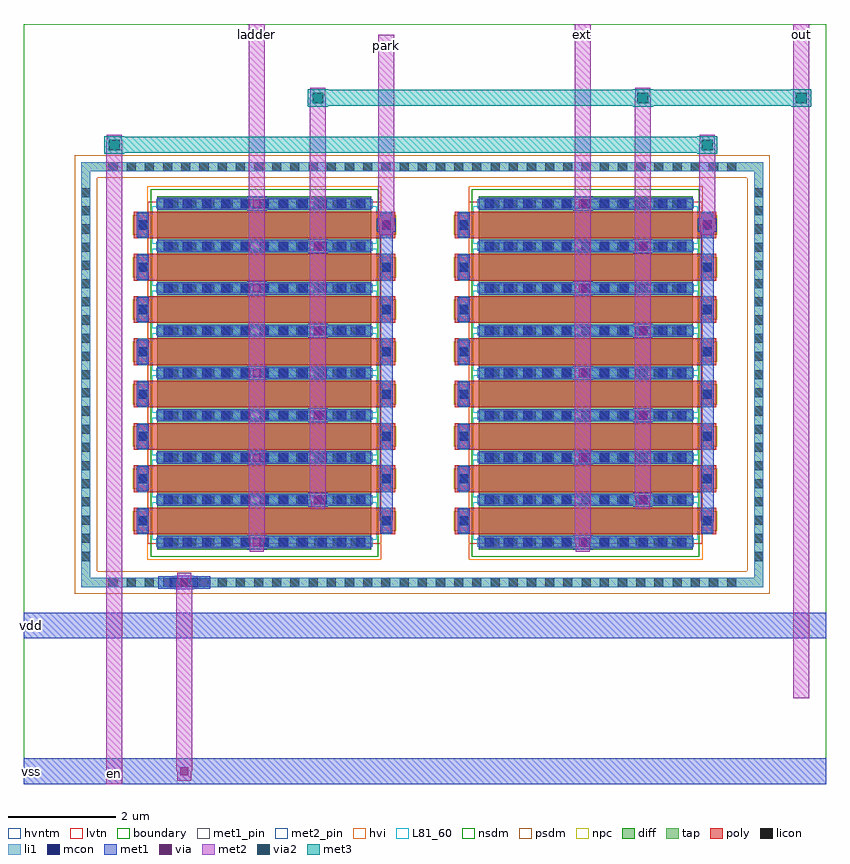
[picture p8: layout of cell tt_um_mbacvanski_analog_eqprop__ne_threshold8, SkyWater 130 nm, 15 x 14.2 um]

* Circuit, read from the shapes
.subckt tt_um_mbacvanski_analog_eqprop__ne_threshold8 en ext ladder out park vdd vss
XM1 out park ladder vss sky130_fd_pr__nfet_05v0_nvt w=4 l=0.5 m=8
XM2 out en ext vss sky130_fd_pr__nfet_05v0_nvt w=4 l=0.5 m=8
.ends

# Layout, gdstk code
from math import pi, radians
import gdstk
lib = gdstk.Library(unit=1e-6, precision=1e-09)
def R(c, l, rs):  # rectangles x0, y0, x1, y1
    for r in rs: c.add(gdstk.rectangle(r[:2], r[2:], *l))
def A(c, l, x, y, w, h, nx, ny, dx, dy):  # array of equal rectangles
    R(c, l, [(x+i*dx, y+j*dy, x+i*dx+w, y+j*dy+h) for i in range(nx) for j in range(ny)])
diff = (65, 20)
tap = (65, 44)
poly = (66, 20)
licon = (66, 44)
li1 = (67, 20)
mcon = (67, 44)
met1_pin = (68, 16)
met1 = (68, 20)
via = (68, 44)
met2_pin = (69, 16)
met2 = (69, 20)
via2 = (69, 44)
met3 = (70, 20)
hvi = (75, 20)
L81_60 = (81, 60)
nsdm = (93, 44)
psdm = (94, 20)
npc = (95, 20)
hvntm = (125, 20)
lvtn = (125, 44)
boundary = (235, 4)

tt_um_mbacvanski_analog_ = lib.new_cell('tt_um_mbacvanski_analog_eqprop__ne_native8')
R(tt_um_mbacvanski_analog_, diff, [(-3.305,-2,3.305,2)])
A(tt_um_mbacvanski_analog_, poly, -3.015, -2.44, 0.5, 4.88, 8, 1, 0.79, 0)
A(tt_um_mbacvanski_analog_, licon, -2.85, -2.36, 0.17, 0.17, 8, 2, 0.79, 4.55)
A(tt_um_mbacvanski_analog_, licon, -3.245, -1.785, 0.17, 0.17, 9, 11, 0.79, 0.34)
A(tt_um_mbacvanski_analog_, li1, -3.015, -2.36, 0.5, 0.17, 8, 2, 0.79, 4.55)
A(tt_um_mbacvanski_analog_, li1, -3.245, -2.02, 0.17, 4.04, 9, 1, 0.79, 0)
A(tt_um_mbacvanski_analog_, mcon, -2.85, -2.36, 0.17, 0.17, 8, 2, 0.79, 4.55)
A(tt_um_mbacvanski_analog_, mcon, -3.245, -1.885, 0.17, 0.17, 9, 11, 0.79, 0.36)
A(tt_um_mbacvanski_analog_, met1, -2.995, -2.39, 0.46, 0.23, 8, 2, 0.79, 4.55)
A(tt_um_mbacvanski_analog_, met1, -3.275, -2, 0.23, 4, 9, 1, 0.79, 0)
R(tt_um_mbacvanski_analog_, hvi, [(-3.49,-2.185,3.49,2.185)])
A(tt_um_mbacvanski_analog_, L81_60, -3.115, -2.1, 0.7, 4.2, 8, 1, 0.79, 0)
R(tt_um_mbacvanski_analog_, nsdm, [(-3.43,-2.125,3.43,2.125)])
A(tt_um_mbacvanski_analog_, npc, -2.95, -2.46, 0.37, 0.37, 8, 2, 0.79, 4.55)
R(tt_um_mbacvanski_analog_, hvntm, [(-3.49,-2.185,3.49,2.185)])
R(tt_um_mbacvanski_analog_, lvtn, [(-3.195,-2.18,3.195,2.18)])
tt_um_mbacvanski_analog_.add(gdstk.Label('S7', (2.37,0), layer=67, texttype=5))
tt_um_mbacvanski_analog_.add(gdstk.Label('G6', (1.975,2.275), layer=67, texttype=5))
tt_um_mbacvanski_analog_.add(gdstk.Label('D0', (-3.16,0), layer=67, texttype=5))
tt_um_mbacvanski_analog_.add(gdstk.Label('G3', (-0.395,2.275), layer=67, texttype=5))
tt_um_mbacvanski_analog_.add(gdstk.Label('G1', (-1.975,2.275), layer=67, texttype=5))
tt_um_mbacvanski_analog_.add(gdstk.Label('D2', (-1.58,0), layer=67, texttype=5))
tt_um_mbacvanski_analog_.add(gdstk.Label('G7', (2.765,2.275), layer=67, texttype=5))
tt_um_mbacvanski_analog_.add(gdstk.Label('G2', (-1.185,2.275), layer=67, texttype=5))
tt_um_mbacvanski_analog_.add(gdstk.Label('S3', (-0.79,0), layer=67, texttype=5))
tt_um_mbacvanski_analog_.add(gdstk.Label('S1', (-2.37,0), layer=67, texttype=5))
tt_um_mbacvanski_analog_.add(gdstk.Label('S5', (0.79,0), layer=67, texttype=5))
tt_um_mbacvanski_analog_.add(gdstk.Label('D4', (0,0), layer=67, texttype=5))
tt_um_mbacvanski_analog_.add(gdstk.Label('G0', (-2.765,2.275), layer=67, texttype=5))
tt_um_mbacvanski_analog_.add(gdstk.Label('G4', (0.395,2.275), layer=67, texttype=5))
tt_um_mbacvanski_analog_.add(gdstk.Label('G5', (1.185,2.275), layer=67, texttype=5))
tt_um_mbacvanski_analog_.add(gdstk.Label('D6', (1.58,0), layer=67, texttype=5))

c_tt_um_mbacvanski_analog_ = lib.new_cell('tt_um_mbacvanski_analog_eqprop__ne_threshold8')
R(c_tt_um_mbacvanski_analog_, tap, [(1.08,3.68,13.82,3.85), (1.08,3.85,1.25,11.45), (13.65,3.85,13.82,11.45), (1.08,11.45,13.82,11.62)])
A(c_tt_um_mbacvanski_analog_, licon, 1.585, 3.68, 0.17, 0.17, 35, 2, 0.34, 7.77)
A(c_tt_um_mbacvanski_analog_, licon, 1.08, 4.165, 0.17, 0.17, 1, 21, 0, 0.34)
A(c_tt_um_mbacvanski_analog_, licon, 13.65, 4.165, 0.17, 0.17, 1, 21, 0, 0.34)
R(c_tt_um_mbacvanski_analog_, li1, [(1.08,3.68,13.82,3.85), (1.08,3.85,1.25,11.45), (13.65,3.85,13.82,11.45), (1.08,11.45,13.82,11.62)])
R(c_tt_um_mbacvanski_analog_, mcon, [(2.735,3.68,2.905,3.85), (3.095,3.68,3.265,3.85)])
R(c_tt_um_mbacvanski_analog_, met1_pin, [(0.1,0.19,0.2,0.29), (0.1,2.91,0.2,3.01)])
A(c_tt_um_mbacvanski_analog_, met1, 4.18, 4.39, 0.36, 0.26, 1, 5, 0, 1.58)
A(c_tt_um_mbacvanski_analog_, met1, 10.27, 4.39, 0.36, 0.26, 1, 5, 0, 1.58)
A(c_tt_um_mbacvanski_analog_, met1, 5.32, 5.18, 0.36, 0.26, 1, 4, 0, 1.58)
A(c_tt_um_mbacvanski_analog_, met1, 11.39, 5.18, 0.36, 0.26, 1, 4, 0, 1.58)
R(c_tt_um_mbacvanski_analog_, met1, [(0,0,15,0.48), (0,2.72,15,3.2), (2.82,3.635,3.18,3.65), (2.515,3.65,3.485,3.88), (2.82,3.88,3.18,3.895), (6.655,4.915,6.895,10.315), (12.655,4.915,12.895,10.315), (6.595,10.315,6.955,10.575), (12.595,10.315,12.955,10.575)])
A(c_tt_um_mbacvanski_analog_, via, 4.285, 4.445, 0.15, 0.15, 1, 5, 0, 1.58)
A(c_tt_um_mbacvanski_analog_, via, 10.375, 4.445, 0.15, 0.15, 1, 5, 0, 1.58)
A(c_tt_um_mbacvanski_analog_, via, 5.425, 5.235, 0.15, 0.15, 1, 4, 0, 1.58)
A(c_tt_um_mbacvanski_analog_, via, 11.495, 5.235, 0.15, 0.15, 1, 4, 0, 1.58)
R(c_tt_um_mbacvanski_analog_, via, [(2.925,0.165,3.075,0.315), (2.925,3.69,3.075,3.84), (6.7,10.37,6.85,10.52), (12.7,10.37,12.85,10.52)])
R(c_tt_um_mbacvanski_analog_, met2_pin, [(1.645,0.15,1.745,0.25), (6.725,13.75,6.825,13.85), (4.31,13.95,4.41,14.05), (10.4,13.95,10.5,14.05), (14.48,13.95,14.58,14.05)])
R(c_tt_um_mbacvanski_analog_, met2, [(1.545,0,1.845,12.02), (2.87,0.06,3.13,0.24), (2.85,0.24,3.15,3.765), (14.38,1.6,14.68,14.2), (2.87,3.765,3.13,3.945), (4.23,4.34,4.49,4.52), (10.32,4.34,10.58,4.52), (4.21,4.52,4.51,14.2), (10.3,4.52,10.6,14.2), (5.37,5.13,5.63,5.31), (11.44,5.13,11.7,5.31), (5.35,5.31,5.65,12.82), (11.42,5.31,11.72,12.82), (6.645,10.265,6.905,10.445), (12.645,10.265,12.905,10.445), (6.625,10.445,6.925,14), (12.625,10.445,12.925,11.94), (12.635,11.94,12.915,12.13), (1.555,12.02,1.835,12.13), (5.36,12.82,5.64,13.01), (11.43,12.82,11.71,13.01)])
R(c_tt_um_mbacvanski_analog_, via2, [(1.595,11.84,1.795,12.04), (12.675,11.84,12.875,12.04), (5.4,12.72,5.6,12.92), (11.47,12.72,11.67,12.92), (14.43,12.72,14.63,12.92)])
R(c_tt_um_mbacvanski_analog_, met3, [(1.505,11.775,1.885,11.79), (12.585,11.775,12.965,11.79), (1.505,11.79,12.965,12.09), (1.505,12.09,1.885,12.105), (12.585,12.09,12.965,12.105), (5.31,12.655,5.69,12.67), (11.38,12.655,11.76,12.67), (14.34,12.655,14.72,12.67), (5.31,12.67,14.72,12.97), (5.31,12.97,5.69,12.985), (11.38,12.97,11.76,12.985), (14.34,12.97,14.72,12.985)])
R(c_tt_um_mbacvanski_analog_, psdm, [(0.955,3.555,13.945,3.975), (0.955,3.975,1.375,11.325), (13.525,3.975,13.945,11.325), (0.955,11.325,13.945,11.745)])
R(c_tt_um_mbacvanski_analog_, boundary, [(0,0,15,14.2)])
c_tt_um_mbacvanski_analog_.add(gdstk.Reference(tt_um_mbacvanski_analog_, (4.5,7.68), rotation=3*pi/2))
c_tt_um_mbacvanski_analog_.add(gdstk.Reference(tt_um_mbacvanski_analog_, (10.5,7.68), rotation=3*pi/2))
c_tt_um_mbacvanski_analog_.add(gdstk.Label('vdd', (0.15,2.96), layer=68, texttype=5))
c_tt_um_mbacvanski_analog_.add(gdstk.Label('vss', (0.15,0.24), layer=68, texttype=5))
c_tt_um_mbacvanski_analog_.add(gdstk.Label('out', (14.53,14), layer=69, texttype=5))
c_tt_um_mbacvanski_analog_.add(gdstk.Label('ext', (10.45,14), layer=69, texttype=5))
c_tt_um_mbacvanski_analog_.add(gdstk.Label('park', (6.775,13.8), layer=69, texttype=5))
c_tt_um_mbacvanski_analog_.add(gdstk.Label('ladder', (4.36,14), layer=69, texttype=5))
c_tt_um_mbacvanski_analog_.add(gdstk.Label('en', (1.695,0.2), layer=69, texttype=5))

lib.write_gds('tt_um_mbacvanski_analog_eqprop__ne_threshold8.gds')
